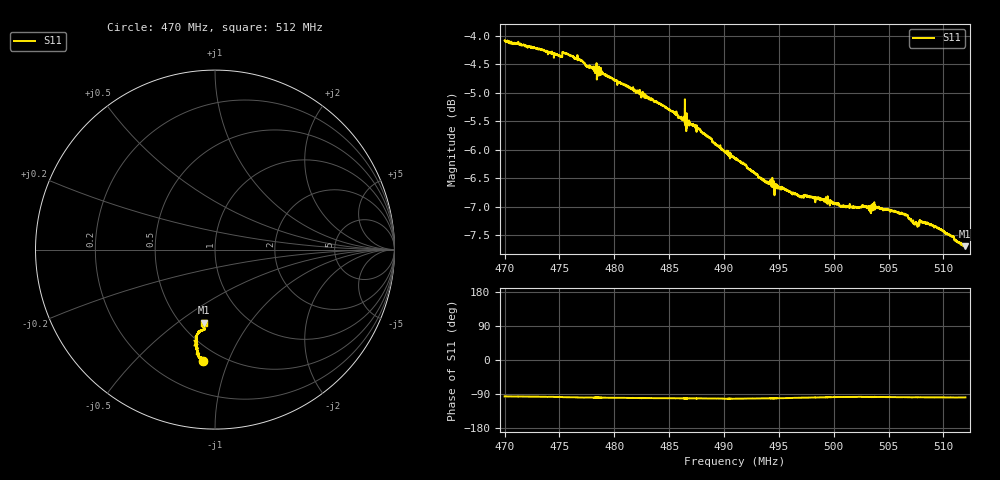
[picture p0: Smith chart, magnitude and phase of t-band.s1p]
! Calibrated averaged scanner-service zoom
# Hz S RI R 50
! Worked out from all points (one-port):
!   4001 points, 470 MHz to 512 MHz, reference 50 ohm
!   lowest |S11| = -7.7 dB at 512 MHz (marker M1), VSWR 2.41, Z = 32 - j31.5 ohm
!   |S11| at or under -10 dB: nowhere
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4.7e8  -0.0661 -0.6217
4.74809e8  -0.078 -0.6024
4.7525e8  -0.0816 -0.5992
4.756385e8  -0.087 -0.6032
4.76426e8  -0.0885 -0.5966
4.7714e8  -0.0941 -0.5909
4.775705e8  -0.0921 -0.5855
4.78652e8  -0.0975 -0.5748
4.792295e8  -0.0947 -0.5748
4.805e8  -0.0988 -0.5656
4.8575e8  -0.1032 -0.5282
4.865795e8  -0.102 -0.5302
4.88669e8  -0.1012 -0.504
4.901705e8  -0.1047 -0.4877
4.91e8  -0.1041 -0.4812
4.937405e8  -0.0916 -0.4621
4.9625e8  -0.0819 -0.4516
4.97069e8  -0.0754 -0.4495
5.00114e8  -0.0613 -0.4459
5.015e8  -0.0587 -0.4428
5.0234e8  -0.0573 -0.4427
5.03768e8  -0.0591 -0.4405
5.0675e8  -0.0614 -0.4347
5.07506e8  -0.0633 -0.4286
5.080415e8  -0.0633 -0.4284
5.093855e8  -0.0641 -0.4241
5.119685e8  -0.0626 -0.4079
5.12e8  -0.062 -0.4083
